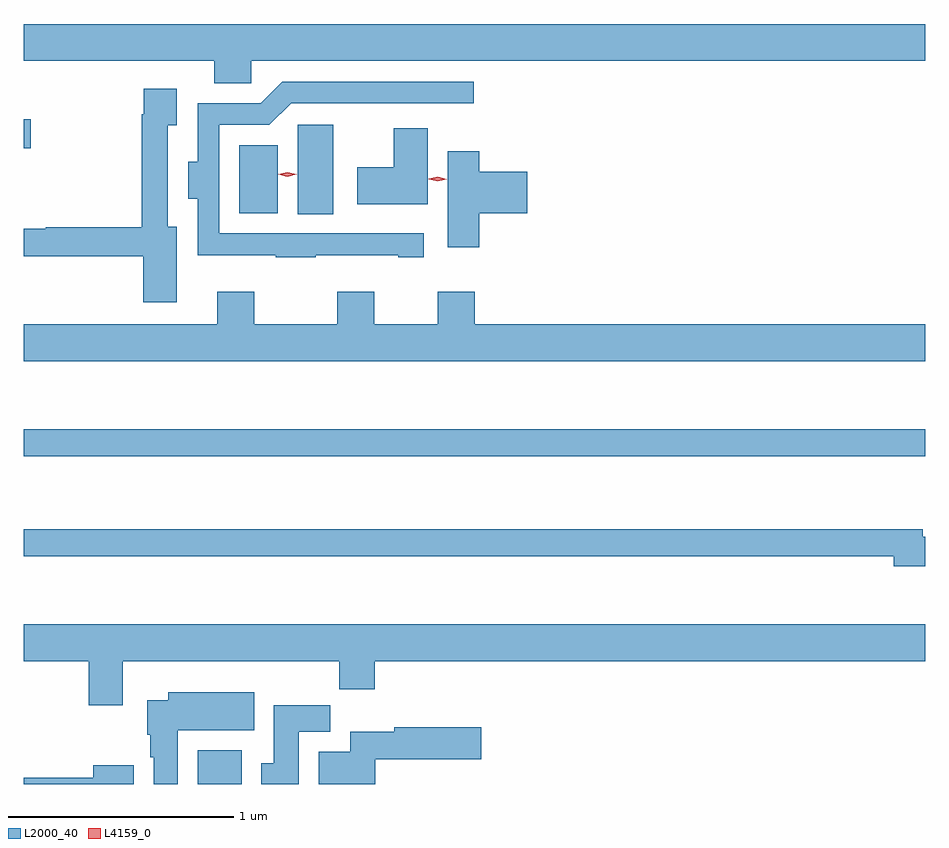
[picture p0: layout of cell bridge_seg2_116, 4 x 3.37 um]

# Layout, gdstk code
import gdstk
lib = gdstk.Library(unit=1e-6, precision=1e-09)
def R(c, l, rs):  # rectangles x0, y0, x1, y1
    for r in rs: c.add(gdstk.rectangle(r[:2], r[2:], *l))
def P(c, l, *ps):  # polygons
    for p in ps: c.add(gdstk.Polygon(p, *l))
L2000_40 = (2000, 40)
L4159_0 = (4159, 0)

bridge_seg2_116 = lib.new_cell('bridge_seg2_116')
R(bridge_seg2_116, L2000_40, [(473.277,621.784,473.473,621.934), (472.505,623.238,476.505,623.359), (473.72,624.313,473.878,624.709), (473.462,624.317,473.632,624.619), (472.505,624.604,472.537,624.733)])
P(bridge_seg2_116, L2000_40, [(473.514,624.992),(476.505,624.992),(476.505,625.156),(472.505,625.156),(472.505,624.992),(473.351,624.992),(473.351,624.894),(473.514,624.894)],
  [(473.801,624.131),(474.167,624.131),(474.167,624.12),(474.28,624.12),(474.28,624.228),(473.373,624.228),(473.373,624.708),(473.595,624.708),(473.691,624.804),(474.502,624.804),(474.502,624.9),(473.652,624.9),(473.556,624.804),(473.276,624.804),(473.276,624.544),(473.234,624.544),(473.234,624.38),(473.277,624.38),(473.277,624.131),(473.623,624.131),(473.623,624.12),(473.801,624.12)],
  [(473.185,624.256),(473.145,624.256),(473.145,624.707),(473.185,624.707),(473.185,624.868),(473.037,624.868),(473.037,624.755),(473.029,624.755),(473.029,624.254),(472.602,624.254),(472.602,624.247),(472.505,624.247),(472.505,624.126),(473.036,624.126),(473.036,623.922),(473.185,623.922)],
  [(474.298,624.694),(474.146,624.694),(474.146,624.52),(473.985,624.52),(473.985,624.356),(474.298,624.356)],
  [(474.527,624.317),(474.739,624.317),(474.739,624.5),(474.527,624.5),(474.527,624.592),(474.386,624.592),(474.386,624.165),(474.527,624.165)],
  [(476.505,623.824),(474.505,623.824),(474.505,623.968),(474.341,623.968),(474.341,623.824),(474.061,623.824),(474.061,623.968),(473.897,623.968),(473.897,623.824),(473.527,623.824),(473.527,623.968),(473.363,623.968),(473.363,623.824),(472.505,623.824),(472.505,623.66),(476.505,623.66)],
  [(476.505,622.881),(476.494,622.881),(476.494,622.915),(472.505,622.915),(472.505,622.794),(476.366,622.794),(476.366,622.751),(476.505,622.751)],
  [(472.945,622.328),(473.905,622.328),(473.905,622.204),(474.062,622.204),(474.062,622.328),(476.505,622.328),(476.505,622.492),(472.505,622.492),(472.505,622.328),(472.793,622.328),(472.793,622.134),(472.945,622.134)],
  [(473.188,622.022),(473.527,622.022),(473.527,622.192),(473.147,622.192),(473.147,622.156),(473.054,622.156),(473.054,622.002),(473.066,622.002),(473.066,621.902),(473.081,621.902),(473.081,621.784),(473.188,621.784)],
  [(473.725,622.016),(473.864,622.016),(473.864,622.134),(473.615,622.134),(473.615,621.876),(473.558,621.876),(473.558,621.784),(473.725,621.784)],
  [(474.064,621.893),(474.535,621.893),(474.535,622.035),(474.15,622.035),(474.15,622.015),(473.954,622.015),(473.954,621.928),(473.813,621.928),(473.813,621.784),(474.064,621.784)],
  [(472.993,621.868),(472.814,621.868),(472.814,621.812),(472.505,621.812),(472.505,621.784),(472.993,621.784)])
P(bridge_seg2_116, L4159_0, [(474.341,624.458),(474.302,624.468),(474.302,624.469),(474.302,624.469),(474.342,624.478),(474.381,624.468),(474.381,624.468),(474.381,624.468)],
  [(473.675,624.479),(473.635,624.489),(473.635,624.489),(473.635,624.489),(473.675,624.499),(473.716,624.49),(473.716,624.49),(473.716,624.489)])

lib.write_gds('bridge_seg2_116.gds')
